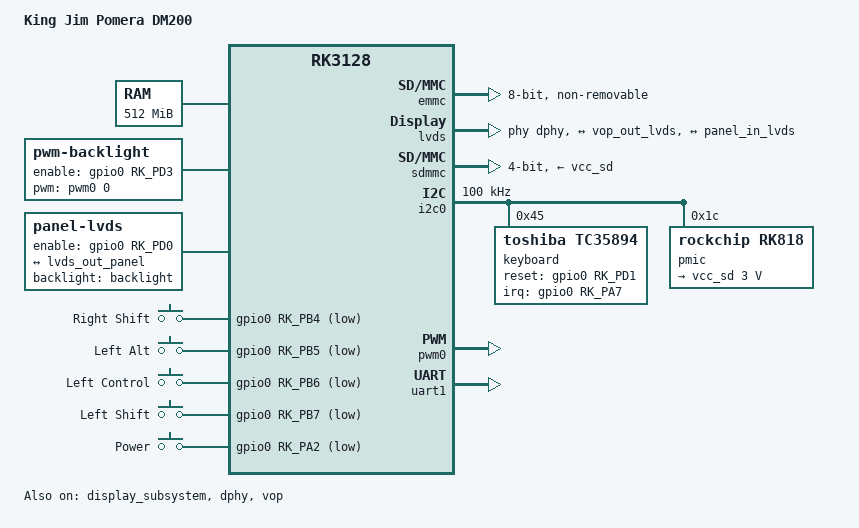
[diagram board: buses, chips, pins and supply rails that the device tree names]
// SPDX-License-Identifier: (GPL-2.0+ OR MIT)
/dts-v1/;

#include <arm/rockchip/rk3128.dtsi>
#include <dt-bindings/input/input.h>
#include <dt-bindings/pwm/pwm.h>

/ {
	model = "King Jim Pomera DM200";
	compatible = "kingjim,pomera-dm200", "rockchip,rk3128";

	aliases {
		mmc0 = &emmc;
		mmc1 = &sdmmc;
	};

	chosen {
		stdout-path = &uart1;
	};

	memory@60000000 {
		device_type = "memory";
		reg = <0x60000000 0x20000000>;
	};

	backlight: backlight {
		compatible = "pwm-backlight";
		brightness-levels = <0 255>;
		num-interpolated-steps = <255>;
		default-brightness-level = <128>;
		enable-gpios = <&gpio0 RK_PD3 GPIO_ACTIVE_HIGH>;
		pinctrl-names = "default";
		pinctrl-0 = <&backlight_enable>;
		pwms = <&pwm0 0 25000 PWM_POLARITY_INVERTED>;
	};

	panel {
		compatible = "panel-lvds";
		backlight = <&backlight>;
		data-mapping = "jeida-18";
		enable-gpios = <&gpio0 RK_PD0 GPIO_ACTIVE_HIGH>;
		height-mm = <90>;
		pinctrl-names = "default";
		pinctrl-0 = <&panel_enable>;
		width-mm = <154>;

		panel-timing {
			clock-frequency = <51200000>;
			hactive = <1024>;
			vactive = <600>;
			hback-porch = <100>;
			hfront-porch = <210>;
			hsync-len = <10>;
			vback-porch = <8>;
			vfront-porch = <25>;
			vsync-len = <2>;
			hsync-active = <0>;
			vsync-active = <0>;
			de-active = <0>;
			pixelclk-active = <0>;
		};

		port {
			panel_in_lvds: endpoint {
				remote-endpoint = <&lvds_out_panel>;
			};
		};
	};

	buttons {
		compatible = "gpio-keys";
		pinctrl-names = "default";
		pinctrl-0 = <&recovery_keys>;

		key-right-shift {
			label = "Right Shift";
			linux,code = <KEY_RIGHTSHIFT>;
			gpios = <&gpio0 RK_PB4 GPIO_ACTIVE_LOW>;
		};
		key-left-alt {
			label = "Left Alt";
			linux,code = <KEY_LEFTALT>;
			gpios = <&gpio0 RK_PB5 GPIO_ACTIVE_LOW>;
		};
		key-left-control {
			label = "Left Control";
			linux,code = <KEY_LEFTCTRL>;
			gpios = <&gpio0 RK_PB6 GPIO_ACTIVE_LOW>;
		};
		key-left-shift {
			label = "Left Shift";
			linux,code = <KEY_LEFTSHIFT>;
			gpios = <&gpio0 RK_PB7 GPIO_ACTIVE_LOW>;
		};
		key-power {
			label = "Power";
			linux,code = <KEY_POWER>;
			gpios = <&gpio0 RK_PA2 GPIO_ACTIVE_LOW>;
		};
	};
};

&emmc {
	bus-width = <8>;
	cap-mmc-highspeed;
	max-frequency = <50000000>;
	non-removable;
	pinctrl-names = "default";
	pinctrl-0 = <&emmc_clk &emmc_cmd &emmc_bus8>;
	status = "okay";
};

&display_subsystem {
	status = "okay";
};

&dphy {
	status = "okay";
};

&grf {
	lvds: lvds {
		compatible = "rockchip,rk3126-lvds";
		phys = <&dphy>;
		phy-names = "dphy";
		rockchip,grf = <&grf>;
		rockchip,output = "lvds";
		status = "okay";

		ports {
			#address-cells = <1>;
			#size-cells = <0>;

			port@0 {
				reg = <0>;

				lvds_in_vop: endpoint {
					remote-endpoint = <&vop_out_lvds>;
				};
			};

			port@1 {
				reg = <1>;

				lvds_out_panel: endpoint {
					remote-endpoint = <&panel_in_lvds>;
				};
			};
		};
	};
};

&sdmmc {
	broken-cd;
	bus-width = <4>;
	cap-sd-highspeed;
	max-frequency = <37500000>;
	pinctrl-names = "default";
	pinctrl-0 = <&sdmmc_clk &sdmmc_cmd &sdmmc_bus4>;
	vmmc-supply = <&vcc_sd>;
	status = "okay";
};

&i2c0 {
	clock-frequency = <100000>;
	status = "okay";

	keyboard@45 {
		compatible = "toshiba,tc35894";
		reg = <0x45>;
		interrupt-parent = <&gpio0>;
		interrupts = <RK_PA7 IRQ_TYPE_EDGE_FALLING>;
		interrupt-controller;
		#interrupt-cells = <1>;
		reset-gpios = <&gpio0 RK_PD1 GPIO_ACTIVE_HIGH>;
		pinctrl-names = "default";
		pinctrl-0 = <&tc35894_irq>, <&tc35894_reset>;
		wakeup-source;

		keypad {
			compatible = "toshiba,tc3589x-keypad";
			interrupts = <6>;
			keypad,num-columns = <12>;
			keypad,num-rows = <8>;
			wakeup-source;
			linux,keymap =
				<MATRIX_KEY(7, 0, KEY_ESC)>,
				<MATRIX_KEY(6, 0, KEY_GRAVE)>,
				<MATRIX_KEY(5, 0, KEY_F1)>,
				<MATRIX_KEY(4, 0, KEY_F2)>,
				<MATRIX_KEY(7, 2, KEY_F3)>,
				<MATRIX_KEY(7, 6, KEY_F4)>,
				<MATRIX_KEY(7, 9, KEY_F5)>,
				<MATRIX_KEY(6, 9, KEY_F6)>,
				<MATRIX_KEY(2, 8, KEY_F7)>,
				<MATRIX_KEY(1, 8, KEY_F8)>,
				<MATRIX_KEY(0, 8, KEY_F9)>,
				<MATRIX_KEY(3, 7, KEY_F10)>,
				<MATRIX_KEY(2, 7, KEY_INSERT)>,
				<MATRIX_KEY(1, 7, KEY_DELETE)>,
				<MATRIX_KEY(3, 0, KEY_1)>,
				<MATRIX_KEY(2, 0, KEY_2)>,
				<MATRIX_KEY(7, 1, KEY_3)>,
				<MATRIX_KEY(6, 2, KEY_4)>,
				<MATRIX_KEY(6, 6, KEY_5)>,
				<MATRIX_KEY(5, 6, KEY_6)>,
				<MATRIX_KEY(5, 9, KEY_7)>,
				<MATRIX_KEY(3, 8, KEY_8)>,
				<MATRIX_KEY(4, 7, KEY_9)>,
				<MATRIX_KEY(4, 5, KEY_0)>,
				<MATRIX_KEY(3, 5, KEY_MINUS)>,
				<MATRIX_KEY(2, 5, KEY_EQUAL)>,
				<MATRIX_KEY(1, 5, KEY_YEN)>,
				<MATRIX_KEY(2, 4, KEY_BACKSPACE)>,
				<MATRIX_KEY(1, 0, KEY_TAB)>,
				<MATRIX_KEY(6, 1, KEY_Q)>,
				<MATRIX_KEY(5, 1, KEY_W)>,
				<MATRIX_KEY(5, 2, KEY_E)>,
				<MATRIX_KEY(4, 2, KEY_R)>,
				<MATRIX_KEY(4, 6, KEY_T)>,
				<MATRIX_KEY(3, 6, KEY_Y)>,
				<MATRIX_KEY(4, 9, KEY_U)>,
				<MATRIX_KEY(4, 8, KEY_I)>,
				<MATRIX_KEY(5, 7, KEY_O)>,
				<MATRIX_KEY(6, 5, KEY_P)>,
				<MATRIX_KEY(5, 5, KEY_LEFTBRACE)>,
				<MATRIX_KEY(3, 4, KEY_RIGHTBRACE)>,
				<MATRIX_KEY(5, 3, KEY_ENTER)>,
				<MATRIX_KEY(0, 0, KEY_CAPSLOCK)>,
				<MATRIX_KEY(4, 1, KEY_A)>,
				<MATRIX_KEY(3, 1, KEY_S)>,
				<MATRIX_KEY(3, 2, KEY_D)>,
				<MATRIX_KEY(2, 2, KEY_F)>,
				<MATRIX_KEY(2, 6, KEY_G)>,
				<MATRIX_KEY(3, 9, KEY_H)>,
				<MATRIX_KEY(5, 8, KEY_J)>,
				<MATRIX_KEY(6, 7, KEY_K)>,
				<MATRIX_KEY(7, 5, KEY_L)>,
				<MATRIX_KEY(4, 4, KEY_SEMICOLON)>,
				<MATRIX_KEY(7, 3, KEY_APOSTROPHE)>,
				<MATRIX_KEY(6, 3, KEY_BACKSLASH)>,
				<MATRIX_KEY(2, 1, KEY_Z)>,
				<MATRIX_KEY(1, 1, KEY_X)>,
				<MATRIX_KEY(1, 2, KEY_C)>,
				<MATRIX_KEY(0, 2, KEY_V)>,
				<MATRIX_KEY(1, 6, KEY_B)>,
				<MATRIX_KEY(2, 9, KEY_N)>,
				<MATRIX_KEY(6, 8, KEY_M)>,
				<MATRIX_KEY(7, 7, KEY_COMMA)>,
				<MATRIX_KEY(6, 4, KEY_DOT)>,
				<MATRIX_KEY(5, 4, KEY_SLASH)>,
				<MATRIX_KEY(4, 3, KEY_RO)>,
				<MATRIX_KEY(3, 3, KEY_UP)>,
				<MATRIX_KEY(0, 4, KEY_LEFTMETA)>,
				<MATRIX_KEY(0, 1, KEY_MUHENKAN)>,
				<MATRIX_KEY(0, 6, KEY_SPACE)>,
				<MATRIX_KEY(7, 8, KEY_HENKAN)>,
				<MATRIX_KEY(7, 4, KEY_KATAKANAHIRAGANA)>,
				<MATRIX_KEY(2, 3, KEY_LEFT)>,
				<MATRIX_KEY(1, 3, KEY_DOWN)>,
				<MATRIX_KEY(0, 3, KEY_RIGHT)>;
		};
	};

	pmic@1c {
		compatible = "rockchip,rk818";
		reg = <0x1c>;
		system-power-controller;

		regulators {
			vcc_sd: LDO_REG9 {
				regulator-name = "vcc_sd";
				regulator-min-microvolt = <3000000>;
				regulator-max-microvolt = <3000000>;
				regulator-boot-on;
			};
		};
	};
};

&pinctrl {
	dm200 {
		recovery_keys: recovery-keys {
			rockchip,pins = <0 RK_PB4 RK_FUNC_GPIO &pcfg_pull_default>,
					<0 RK_PB5 RK_FUNC_GPIO &pcfg_pull_default>,
					<0 RK_PB6 RK_FUNC_GPIO &pcfg_pull_default>,
					<0 RK_PB7 RK_FUNC_GPIO &pcfg_pull_default>,
					<0 RK_PA2 RK_FUNC_GPIO &pcfg_pull_default>;
		};
	};

	keyboard {
		tc35894_irq: tc35894-irq {
			rockchip,pins = <0 RK_PA7 RK_FUNC_GPIO &pcfg_pull_none>;
		};

		tc35894_reset: tc35894-reset {
			rockchip,pins = <0 RK_PD1 RK_FUNC_GPIO &pcfg_pull_none>;
		};
	};

	display {
		backlight_enable: backlight-enable {
			rockchip,pins = <0 RK_PD3 RK_FUNC_GPIO &pcfg_pull_none>;
		};

		panel_enable: panel-enable {
			rockchip,pins = <0 RK_PD0 RK_FUNC_GPIO &pcfg_pull_none>;
		};
	};
};

&pwm0 {
	status = "okay";
};

&uart1 {
	status = "okay";
};

&uart2 {
	status = "disabled";
};

&vop {
	status = "okay";

	port {
		vop_out_lvds: endpoint@2 {
			reg = <2>;
			remote-endpoint = <&lvds_in_vop>;
		};
	};
};
